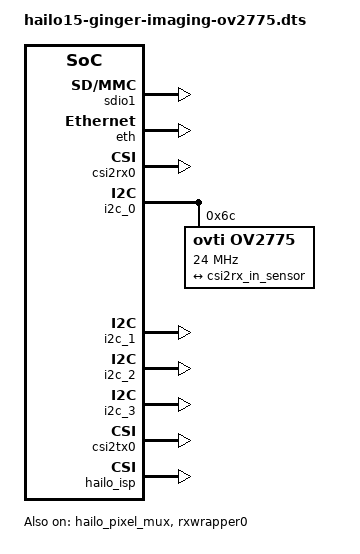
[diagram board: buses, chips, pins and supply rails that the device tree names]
// SPDX-License-Identifier:     GPL-2.0
/*
 * Copyright (c) 2019-2023 Hailo Technologies Ltd. All rights reserved.
 */

/dts-v1/;

#include "hailo15-ginger-imaging.dtsi"

&sdio1 {
    status = "okay";
    8-bit-mux-mode;
};

&eth {
    status = "okay";
};

&csi2rx0 {
    status = "okay";
};

&i2c_0 {
    status = "okay";
    ov2775: camera-sensor@6c {
        status = "okay";
        compatible = "ovti,ov2775";
        reg = <0x6c>;
        clocks = <&sensor_clk>;
        clock-names = "xvclk"; 
        clock-frequency = <24000000>;
        csi-id = <0>;

        port {
            sensor_out_csi2rx: endpoint {
                data-lanes = <1 2 3 4>;
                remote-endpoint = <&csi2rx_in_sensor>;
            };
        };
    };
};

&i2c_1 {
    status = "okay";
};

&i2c_2 {
    status = "okay";
};

&i2c_3 {
    status = "okay";
};

&csi2tx0 {
    status = "okay";
};

&hailo_isp {
    status = "okay";
};

&hailo_pixel_mux {
    status = "okay";
};

&rxwrapper0 {
    status = "okay";
};
